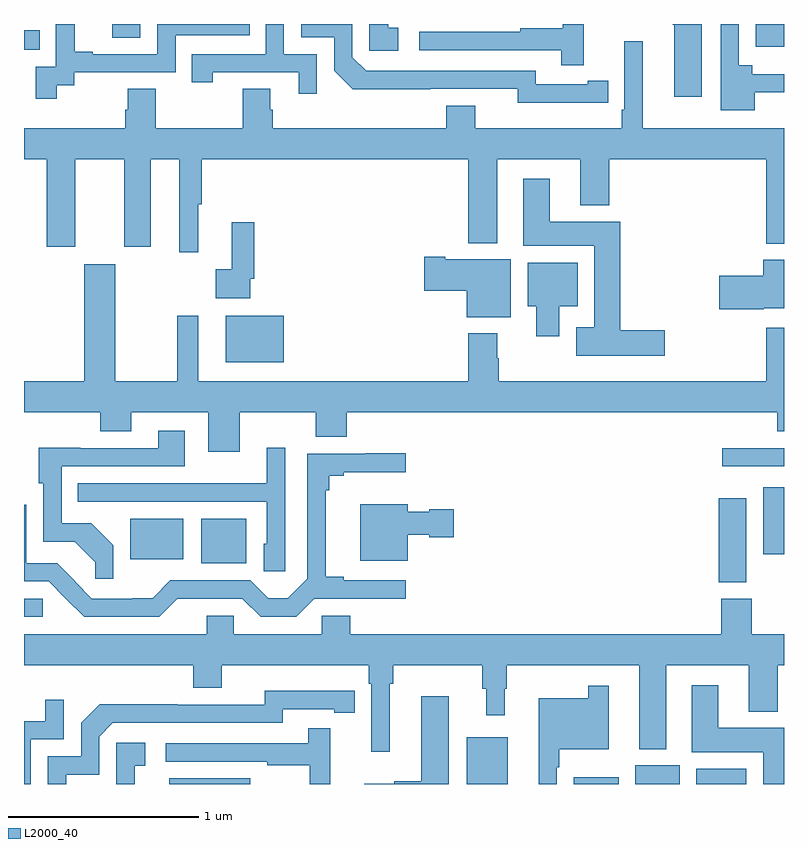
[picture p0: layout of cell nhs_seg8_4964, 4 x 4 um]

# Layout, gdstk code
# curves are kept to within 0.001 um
import gdstk
lib = gdstk.Library(unit=1e-6, precision=1e-09)
def R(c, l, rs):  # rectangles x0, y0, x1, y1
    for r in rs: c.add(gdstk.rectangle(r[:2], r[2:], *l))
def P(c, l, *ps):  # polygons
    for p in ps: c.add(gdstk.Polygon(p, *l))
L2000_40 = (2000, 40)

nhs_seg8_4964 = lib.new_cell('nhs_seg8_4964')
R(nhs_seg8_4964, L2000_40, [(411.764,1091.9,412.192,1091.929), (413.33,1091.9,413.545,1092.145), (413.894,1091.9,414.13,1091.935), (414.218,1091.9,414.451,1091.998), (414.539,1091.9,414.802,1091.98), (411,1092.78,411.099,1092.876), (414.656,1092.961,414.802,1093.405), (411.932,1093.061,412.171,1093.297), (411.56,1093.082,411.838,1093.297), (414.89,1093.109,415,1093.462), (414.675,1093.572,415,1093.668), (412.061,1094.12,412.366,1094.365), (411,1095.765,411.083,1095.866), (414.851,1095.78,415,1095.9), (411.465,1095.828,411.612,1095.9)])
P(nhs_seg8_4964, L2000_40, [(414.568,1095.9),(414.415,1095.9),(414.415,1095.895),(414.422,1095.895),(414.422,1095.516),(414.568,1095.516)],
  [(413.945,1095.9),(413.835,1095.9),(413.835,1095.878),(413.611,1095.878),(413.611,1095.858),(413.079,1095.858),(413.079,1095.762),(413.827,1095.762),(413.827,1095.684),(413.945,1095.684)],
  [(412.969,1095.879),(412.916,1095.879),(412.916,1095.9),(412.818,1095.9),(412.818,1095.759),(412.969,1095.759)],
  [(414.847,1095.54),(415,1095.54),(415,1095.636),(414.832,1095.636),(414.832,1095.682),(414.762,1095.682),(414.762,1095.9),(414.666,1095.9),(414.666,1095.446),(414.847,1095.446)],
  [(412.542,1095.741),(412.368,1095.741),(412.368,1095.9),(412.272,1095.9),(412.272,1095.741),(411.883,1095.741),(411.883,1095.594),(411.994,1095.594),(411.994,1095.645),(412.445,1095.645),(412.445,1095.534),(412.542,1095.534)],
  [(413.966,1095.486),(414.074,1095.486),(414.074,1095.602),(413.966,1095.602),(413.966,1095.582),(413.694,1095.582),(413.694,1095.654),(412.8,1095.654),(412.728,1095.726),(412.728,1095.9),(412.458,1095.9),(412.458,1095.831),(412.632,1095.831),(412.632,1095.654),(412.73,1095.557),(413.598,1095.558),(413.598,1095.485)],
  [(411.172,1095.577),(411.264,1095.577),(411.264,1095.645),(411.798,1095.645),(411.798,1095.84),(412.187,1095.84),(412.187,1095.9),(411.702,1095.9),(411.702,1095.741),(411.361,1095.741),(411.361,1095.754),(411.266,1095.754),(411.266,1095.9),(411.168,1095.9),(411.168,1095.675),(411.063,1095.675),(411.063,1095.507),(411.172,1095.507)],
  [(411.917,1094.952),(411.935,1094.952),(411.935,1095.188),(413.339,1095.188),(413.339,1094.747),(413.491,1094.747),(413.491,1095.188),(413.927,1095.188),(413.927,1094.945),(414.08,1094.945),(414.08,1095.188),(414.906,1095.188),(414.906,1094.744),(415,1094.744),(415,1095.352),(414.256,1095.352),(414.256,1095.808),(414.159,1095.808),(414.159,1095.448),(414.146,1095.448),(414.146,1095.352),(413.374,1095.352),(413.374,1095.469),(413.222,1095.469),(413.222,1095.352),(412.31,1095.352),(412.31,1095.45),(412.297,1095.45),(412.297,1095.56),(412.15,1095.56),(412.15,1095.352),(411.693,1095.352),(411.693,1095.56),(411.545,1095.56),(411.545,1095.45),(411.533,1095.45),(411.533,1095.352),(411,1095.352),(411,1095.188),(411.119,1095.188),(411.119,1094.727),(411.271,1094.727),(411.271,1095.188),(411.527,1095.188),(411.527,1094.727),(411.667,1094.727),(411.667,1095.188),(411.818,1095.188),(411.818,1094.7),(411.917,1094.7)],
  [(414.373,1094.288),(414.137,1094.288),(414.137,1094.86),(413.767,1094.86),(413.767,1095.085),(413.627,1095.085),(413.627,1094.732),(414.002,1094.732),(414.002,1094.305),(413.907,1094.305),(413.907,1094.153),(414.373,1094.153)],
  [(412.191,1094.56),(412.211,1094.56),(412.211,1094.857),(412.094,1094.857),(412.094,1094.609),(412.008,1094.609),(412.008,1094.456),(412.191,1094.456)],
  [(413.563,1094.662),(413.218,1094.662),(413.218,1094.675),(413.106,1094.675),(413.106,1094.497),(413.33,1094.497),(413.33,1094.357),(413.563,1094.357)],
  [(414.894,1094.405),(415,1094.405),(415,1094.659),(414.89,1094.659),(414.89,1094.576),(414.66,1094.576),(414.66,1094.398),(414.894,1094.398)],
  [(413.818,1094.414),(413.914,1094.414),(413.914,1094.644),(413.651,1094.644),(413.651,1094.414),(413.696,1094.414),(413.696,1094.256),(413.818,1094.256)],
  [(414.906,1094.02),(413.499,1094.02),(413.499,1094.141),(413.491,1094.141),(413.491,1094.272),(413.339,1094.272),(413.339,1094.02),(411.916,1094.02),(411.916,1094.365),(411.807,1094.365),(411.807,1094.02),(411.481,1094.02),(411.481,1094.635),(411.317,1094.635),(411.317,1094.02),(411,1094.02),(411,1093.856),(411.401,1093.856),(411.401,1093.757),(411.565,1093.757),(411.565,1093.856),(411.971,1093.856),(411.971,1093.65),(412.135,1093.65),(412.135,1093.856),(412.535,1093.856),(412.535,1093.728),(412.699,1093.728),(412.699,1093.856),(414.965,1093.856),(414.965,1093.757),(415,1093.757),(415,1094.302),(414.906,1094.302)],
  [(411.471,1093.156),(411.355,1093.272),(411.198,1093.272),(411.198,1093.572),(411.847,1093.572),(411.847,1093.759),(411.707,1093.759),(411.707,1093.668),(411.295,1093.668),(411.295,1093.67),(411.077,1093.67),(411.077,1093.482),(411.102,1093.482),(411.102,1093.176),(411.268,1093.176),(411.376,1093.068),(411.376,1092.981),(411.471,1092.981)],
  [(412.374,1093.669),(412.277,1093.669),(412.277,1093.483),(411.943,1093.483),(411.943,1093.482),(411.283,1093.482),(411.283,1093.386),(412.278,1093.386),(412.278,1093.164),(412.262,1093.164),(412.262,1093.021),(412.374,1093.021)],
  [(411.806,1092.875),(412.149,1092.876),(412.245,1092.78),(412.432,1092.78),(412.528,1092.876),(413.008,1092.875),(413.008,1092.972),(412.684,1092.972),(412.684,1092.992),(412.589,1092.992),(412.589,1093.445),(412.607,1093.445),(412.607,1093.522),(412.684,1093.522),(412.684,1093.541),(413.008,1093.541),(413.008,1093.64),(412.795,1093.64),(412.795,1093.638),(412.491,1093.638),(412.491,1092.981),(412.387,1092.877),(412.286,1092.877),(412.191,1092.972),(411.771,1092.972),(411.677,1092.878),(411.572,1092.878),(411.572,1092.876),(411.357,1092.876),(411.267,1092.966),(411.269,1092.968),(411.175,1093.062),(411.012,1093.062),(411.012,1093.369),(411,1093.369),(411,1092.966),(411.129,1092.966),(411.317,1092.78),(411.711,1092.78)],
  [(413.02,1093.211),(413.133,1093.211),(413.133,1093.199),(413.263,1093.199),(413.263,1093.346),(413.133,1093.346),(413.133,1093.333),(413.02,1093.333),(413.02,1093.372),(412.769,1093.372),(412.769,1093.076),(413.02,1093.076)],
  [(412.924,1092.428),(412.943,1092.428),(412.943,1092.524),(413.413,1092.524),(413.413,1092.401),(413.432,1092.401),(413.432,1092.261),(413.53,1092.261),(413.53,1092.401),(413.542,1092.401),(413.542,1092.524),(414.239,1092.524),(414.239,1092.083),(414.379,1092.083),(414.379,1092.524),(414.815,1092.524),(414.815,1092.281),(414.968,1092.281),(414.968,1092.524),(415,1092.524),(415,1092.688),(414.831,1092.688),(414.831,1092.876),(414.671,1092.876),(414.671,1092.688),(412.718,1092.688),(412.718,1092.786),(412.566,1092.786),(412.566,1092.688),(412.104,1092.688),(412.104,1092.786),(411.962,1092.786),(411.962,1092.688),(411,1092.688),(411,1092.524),(411.89,1092.524),(411.89,1092.407),(412.042,1092.407),(412.042,1092.524),(412.814,1092.524),(412.814,1092.428),(412.827,1092.428),(412.827,1092.069),(412.924,1092.069)],
  [(415,1092.196),(414.655,1092.196),(414.655,1092.421),(414.515,1092.421),(414.515,1092.068),(414.89,1092.068),(414.89,1091.9),(415,1091.9)],
  [(413.805,1091.987),(413.818,1091.987),(413.818,1092.083),(414.078,1092.083),(414.078,1092.418),(413.97,1092.418),(413.97,1092.352),(413.708,1092.352),(413.708,1091.9),(413.805,1091.9)],
  [(411.223,1091.949),(411.396,1091.949),(411.396,1092.15),(411.468,1092.222),(412.362,1092.222),(412.362,1092.294),(412.634,1092.294),(412.634,1092.274),(412.742,1092.274),(412.742,1092.39),(412.266,1092.391),(412.266,1092.318),(411.806,1092.318),(411.806,1092.32),(411.398,1092.32),(411.3,1092.222),(411.3,1092.045),(411.126,1092.045),(411.126,1091.9),(411.223,1091.9)],
  [(413.236,1092.361),(413.09,1092.361),(413.09,1091.915),(412.949,1091.915),(412.949,1091.902),(412.791,1091.902),(412.791,1091.9),(413.236,1091.9)],
  [(411.036,1092.135),(411.21,1092.135),(411.21,1092.343),(411.113,1092.343),(411.113,1092.231),(411,1092.231),(411,1091.9),(411.036,1091.9)],
  [(412.612,1092.193),(412.495,1092.193),(412.495,1092.114),(411.747,1092.114),(411.747,1092.018),(412.279,1092.018),(412.279,1091.998),(412.503,1091.998),(412.503,1091.9),(412.612,1091.9)],
  [(411.584,1091.997),(411.637,1091.997),(411.637,1092.118),(411.486,1092.118),(411.486,1091.9),(411.584,1091.9)])

lib.write_gds('nhs_seg8_4964.gds')
